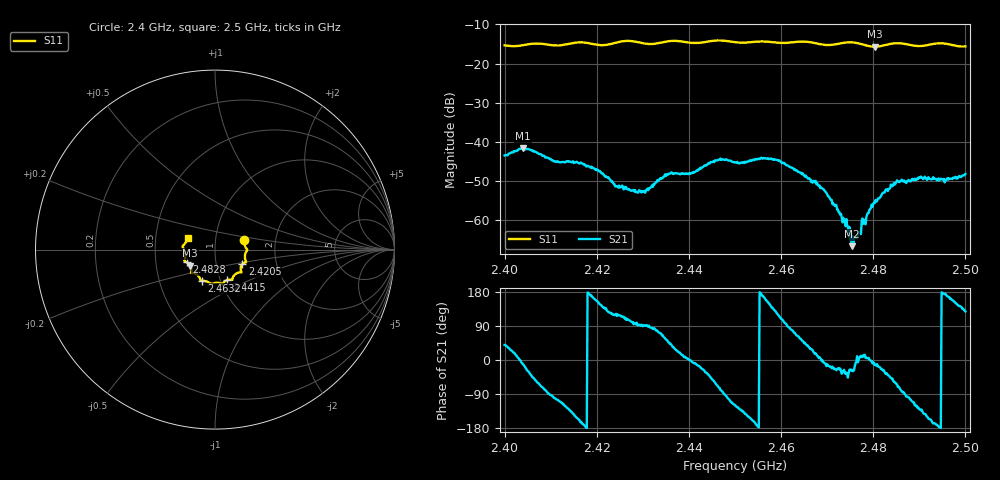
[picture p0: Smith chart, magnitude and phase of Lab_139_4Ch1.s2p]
# Hz S RI R 50
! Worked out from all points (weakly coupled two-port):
!   601 points, 2.4 GHz to 2.5 GHz, reference 50 ohm
!   highest |S21| = -41.59 dB at 2.404 GHz (marker M1); lowest = -66.6 dB at 2.4753 GHz (marker M2)
!   lowest |S11| = -15.7 dB at 2.4803 GHz (marker M3), VSWR 1.39, Z = 37.4 - j6.82 ohm
!   |S11| at or under -10 dB: start of sweep to end of sweep
!   S12 and S22 are empty: the file has one direction only
!   S11 on the Smith chart (normalised r, x): 2.4 GHz: 1.38, +0.15; 2.4205 GHz: 1.34, -0.22; 2.4415 GHz: 1.07, -0.38; 2.4632 GHz: 0.82, -0.29; 2.4828 GHz: 0.72, -0.10; 2.5 GHz: 0.73, +0.10
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2.4e9  0.1631 0.0516  0.00517 0.0043  0 0  0 0
2.404e9  0.1716 0.0103  0.00816 -0.00165  0 0  0 0
2.410833e9  0.1685 -0.024  -0.00102 -0.00557  0 0  0 0
2.416667e9  0.1731 -0.0697  -0.00517 -0.00155  0 0  0 0
2.4205e9  0.1517 -0.0817  -0.00363 0.00216  0 0  0 0
2.424167e9  0.1442 -0.1159  -0.00144 0.00232  0 0  0 0
2.4285e9  0.1415 -0.1267  -0.000162 0.00228  0 0  0 0
2.433333e9  0.1006 -0.1518  0.000885 0.00304  0 0  0 0
2.4415e9  0.0655 -0.1706  0.00415 -0.000725  0 0  0 0
2.446333e9  0.0412 -0.1929  0.00199 -0.00557  0 0  0 0
2.45e9  0.0243 -0.1861  -0.00261 -0.00479  0 0  0 0
2.4575e9  -0.0285 -0.1872  -0.00512 0.00324  0 0  0 0
2.463167e9  -0.0732 -0.1739  0.00165 0.004  0 0  0 0
2.466667e9  -0.0818 -0.1671  0.00283 0.00148  0 0  0 0
2.471833e9  -0.1174 -0.1316  0.00143 -0.000663  0 0  0 0
2.475333e9  -0.1338 -0.1298  0.000421 -0.000202  0 0  0 0
2.476833e9  -0.1318 -0.1236  0.000701 1.14e-05  0 0  0 0
2.480333e9  -0.1378 -0.0889  0.00161 -0.000379  0 0  0 0
2.482833e9  -0.1588 -0.0702  0.00202 -0.00139  0 0  0 0
2.483333e9  -0.1626 -0.0685  0.00189 -0.00163  0 0  0 0
2.485667e9  -0.1706 -0.0626  0.000905 -0.00293  0 0  0 0
2.5e9  -0.1527 0.0644  -0.00241 0.00307  0 0  0 0
